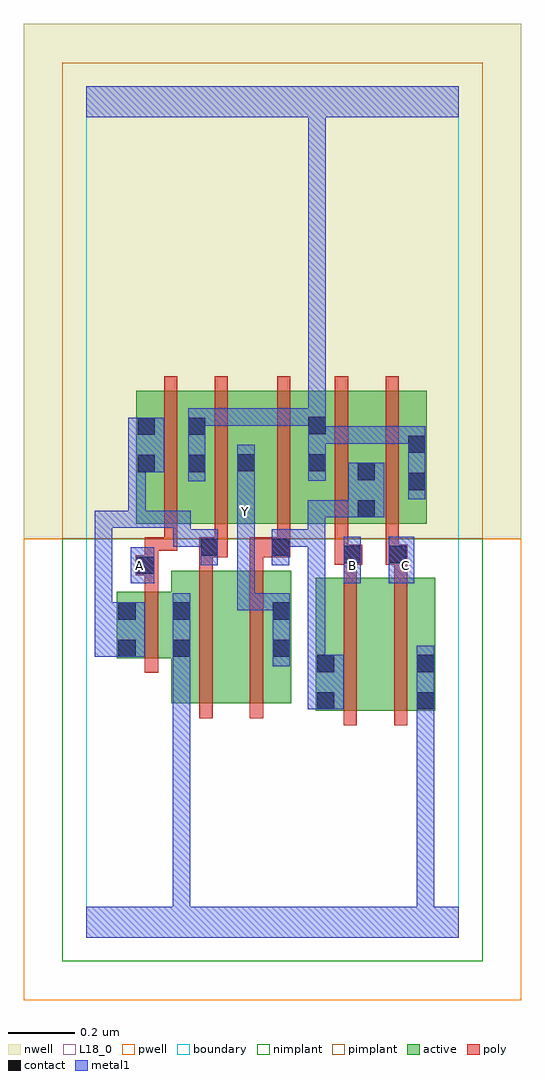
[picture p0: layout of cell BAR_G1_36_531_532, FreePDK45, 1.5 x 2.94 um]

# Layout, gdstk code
import gdstk
lib = gdstk.Library(unit=1e-6, precision=1e-09)
def R(c, l, rs):  # rectangles x0, y0, x1, y1
    for r in rs: c.add(gdstk.rectangle(r[:2], r[2:], *l))
active = (1, 0)
pwell = (2, 0)
nwell = (3, 0)
nimplant = (4, 0)
pimplant = (5, 0)
poly = (9, 0)
contact = (10, 0)
metal1 = (11, 0)
L18_0 = (18, 0)
boundary = (235, 0)

bar_g1_36_531_532 = lib.new_cell('BAR_G1_36_531_532')
R(bar_g1_36_531_532, active, [(0.69,0.682,0.75,1.082), (0.69,0.682,0.87,1.082), (0.87,0.682,1.05,1.082), (0.99,0.682,1.05,1.082), (0.256,0.704,0.436,1.104), (0.256,0.704,0.316,1.04), (0.436,0.704,0.616,1.104), (0.556,0.756,0.616,1.104), (0.092,0.84,0.316,1.04), (0.092,0.84,0.152,1.04), (0.15,1.244,0.21,1.644), (0.15,1.244,0.362,1.644), (0.302,1.244,0.362,1.644), (0.302,1.244,0.51,1.644), (0.45,1.244,0.51,1.644), (0.45,1.244,0.724,1.644), (0.664,1.244,0.724,1.644), (0.664,1.244,0.872,1.644), (0.812,1.244,0.872,1.644), (0.812,1.244,1.024,1.644), (0.964,1.244,1.024,1.644)])
R(bar_g1_36_531_532, pwell, [(-0.188,-0.188,1.308,1.2)])
R(bar_g1_36_531_532, nwell, [(-0.188,1.2,1.308,2.748)])
R(bar_g1_36_531_532, nimplant, [(-0.072,-0.072,1.192,1.2)])
R(bar_g1_36_531_532, pimplant, [(-0.072,1.2,1.192,2.632)])
R(bar_g1_36_531_532, poly, [(0.774,0.638,0.814,1.126), (0.926,0.638,0.966,1.126), (0.34,0.66,0.38,1.148), (0.492,0.66,0.532,1.148), (0.176,0.796,0.216,1.084), (0.176,1.044,0.216,1.13), (0.774,1.086,0.814,1.162), (0.926,1.086,0.966,1.162), (0.148,1.09,0.216,1.15), (0.34,1.108,0.38,1.184), (0.492,1.108,0.532,1.184), (0.176,1.11,0.216,1.204), (0.748,1.122,0.83,1.182), (0.774,1.122,0.814,1.162), (0.774,1.122,0.814,1.162), (0.9,1.122,0.966,1.182), (0.926,1.122,0.966,1.162), (0.926,1.122,0.966,1.162), (0.748,1.142,0.788,1.24), (0.9,1.142,0.94,1.24), (0.34,1.144,0.38,1.184), (0.34,1.144,0.38,1.184), (0.34,1.144,0.426,1.204), (0.492,1.144,0.614,1.204), (0.176,1.164,0.274,1.204), (0.234,1.164,0.274,1.24), (0.386,1.164,0.426,1.24), (0.574,1.164,0.614,1.204), (0.574,1.164,0.614,1.204), (0.574,1.164,0.614,1.24), (0.234,1.2,0.274,1.688), (0.386,1.2,0.426,1.688), (0.574,1.2,0.614,1.688), (0.748,1.2,0.788,1.688), (0.9,1.2,0.94,1.688)])
R(bar_g1_36_531_532, contact, [(0.694,0.686,0.746,0.738), (0.994,0.686,1.046,0.738), (0.694,0.798,0.746,0.85), (0.994,0.798,1.046,0.85), (0.096,0.844,0.148,0.896), (0.26,0.844,0.312,0.896), (0.56,0.844,0.612,0.896), (0.096,0.956,0.148,1.008), (0.26,0.956,0.312,1.008), (0.56,0.956,0.612,1.008), (0.152,1.094,0.204,1.146), (0.774,1.126,0.826,1.178), (0.91,1.126,0.962,1.178), (0.344,1.148,0.396,1.2), (0.558,1.148,0.61,1.2), (0.816,1.264,0.868,1.316), (0.968,1.346,1.02,1.398), (0.816,1.376,0.868,1.428), (0.154,1.4,0.206,1.452), (0.306,1.4,0.358,1.452), (0.454,1.402,0.506,1.454), (0.668,1.402,0.72,1.454), (0.968,1.458,1.02,1.51), (0.154,1.512,0.206,1.564), (0.306,1.512,0.358,1.564), (0.668,1.514,0.72,1.566)])
R(bar_g1_36_531_532, metal1, [(0,0,1.12,0.092), (0.26,0.04,0.312,0.092), (0.26,0.04,0.312,0.092), (0.26,0.04,0.312,0.092), (0.26,0.04,0.312,0.092), (0.26,0.04,0.312,0.092), (0.26,0.04,0.312,0.092), (0.26,0.04,0.312,0.092), (0.26,0.04,0.312,0.092), (0.26,0.04,0.312,0.092), (0.26,0.04,0.312,0.092), (0.26,0.04,0.312,0.092), (0.26,0.04,0.312,0.092), (0.26,0.04,0.312,0.868), (0.994,0.04,1.046,0.092), (0.994,0.04,1.046,0.092), (0.994,0.04,1.046,0.092), (0.994,0.04,1.046,0.092), (0.994,0.04,1.046,0.71), (0.994,0.658,1.046,0.71), (0.994,0.658,1.046,0.71), (0.994,0.658,1.046,0.71), (0.994,0.658,1.046,0.71), (0.994,0.658,1.046,0.71), (0.994,0.658,1.046,0.71), (0.994,0.658,1.046,0.71), (0.994,0.658,1.046,0.71), (0.994,0.658,1.046,0.878), (0.666,0.686,0.774,0.85), (0.666,0.798,0.718,1.228), (0.26,0.816,0.312,1.036), (0.56,0.816,0.612,1.036), (0.026,0.844,0.176,1.008), (0.026,0.956,0.078,1.008), (0.026,0.956,0.078,1.008), (0.026,0.956,0.078,1.284), (0.454,0.984,0.506,1.036), (0.454,0.984,0.506,1.036), (0.454,0.984,0.506,1.036), (0.454,0.984,0.612,1.036), (0.454,0.984,0.506,1.278), (0.134,1.066,0.204,1.174), (0.774,1.066,0.826,1.206), (0.91,1.066,0.986,1.206), (0.344,1.12,0.396,1.228), (0.558,1.12,0.61,1.228), (0.262,1.176,0.314,1.284), (0.262,1.176,0.396,1.228), (0.558,1.176,0.716,1.228), (0.664,1.176,0.716,1.228), (0.664,1.176,0.718,1.228), (0.666,1.176,0.718,1.228), (0.666,1.176,0.718,1.316), (0.454,1.226,0.506,1.334), (0.026,1.232,0.178,1.284), (0.126,1.232,0.178,1.284), (0.126,1.232,0.178,1.284), (0.126,1.232,0.178,1.452), (0.126,1.232,0.314,1.284), (0.666,1.264,0.718,1.316), (0.666,1.264,0.718,1.316), (0.666,1.264,0.718,1.316), (0.666,1.264,0.84,1.316), (0.788,1.264,0.84,1.316), (0.788,1.264,0.84,1.316), (0.788,1.264,0.896,1.428), (0.454,1.282,0.506,1.334), (0.454,1.282,0.506,1.334), (0.454,1.282,0.506,1.426), (0.968,1.318,1.02,1.538), (0.306,1.372,0.358,1.592), (0.454,1.374,0.506,1.482), (0.668,1.374,0.72,1.594), (0.126,1.4,0.234,1.564), (0.668,1.486,0.826,1.538), (0.774,1.486,0.826,1.538), (0.774,1.486,0.854,1.538), (0.802,1.486,0.854,1.538), (0.802,1.486,1.02,1.538), (0.968,1.486,1.02,1.538), (0.968,1.486,1.02,1.538), (0.306,1.54,0.358,1.592), (0.306,1.54,0.358,1.592), (0.306,1.54,0.502,1.592), (0.45,1.54,0.502,1.592), (0.45,1.54,0.506,1.592), (0.454,1.54,0.506,1.592), (0.454,1.54,0.716,1.592), (0.664,1.54,0.716,1.592), (0.664,1.54,0.72,1.592), (0.668,1.542,0.72,1.594), (0.668,1.542,0.72,1.594), (0.668,1.542,0.72,1.594), (0.668,1.542,0.72,1.594), (0.668,1.542,0.72,1.594), (0.668,1.542,0.72,1.594), (0.668,1.542,0.72,1.594), (0.668,1.542,0.72,1.594), (0.668,1.542,0.72,1.594), (0.668,1.542,0.72,1.594), (0.668,1.542,0.72,1.594), (0.668,1.542,0.72,1.594), (0.668,1.542,0.72,1.594), (0.668,1.542,0.72,1.594), (0.668,1.542,0.72,1.594), (0.668,1.542,0.72,1.594), (0.668,1.542,0.72,2.52), (0,2.468,1.12,2.56)])
R(bar_g1_36_531_532, L18_0, [(0,0,1.12,0.092), (0.26,0.04,0.312,0.092), (0.26,0.04,0.312,0.092), (0.26,0.04,0.312,0.092), (0.26,0.04,0.312,0.092), (0.26,0.04,0.312,0.092), (0.26,0.04,0.312,0.092), (0.26,0.04,0.312,0.092), (0.26,0.04,0.312,0.092), (0.26,0.04,0.312,0.092), (0.26,0.04,0.312,0.092), (0.26,0.04,0.312,0.092), (0.26,0.04,0.312,0.092), (0.26,0.04,0.312,0.868), (0.994,0.04,1.046,0.092), (0.994,0.04,1.046,0.092), (0.994,0.04,1.046,0.092), (0.994,0.04,1.046,0.092), (0.994,0.04,1.046,0.71), (0.994,0.658,1.046,0.71), (0.994,0.658,1.046,0.71), (0.994,0.658,1.046,0.71), (0.994,0.658,1.046,0.71), (0.994,0.658,1.046,0.71), (0.994,0.658,1.046,0.71), (0.994,0.658,1.046,0.71), (0.994,0.658,1.046,0.71), (0.994,0.658,1.046,0.878), (0.26,0.816,0.312,1.036), (0.56,0.816,0.612,1.036), (0.454,0.984,0.506,1.036), (0.454,0.984,0.506,1.036), (0.454,0.984,0.506,1.036), (0.454,0.984,0.506,1.278), (0.454,0.984,0.612,1.036), (0.134,1.066,0.204,1.174), (0.774,1.066,0.826,1.206), (0.91,1.066,0.986,1.206), (0.134,1.094,0.186,1.146), (0.774,1.094,0.826,1.146), (0.934,1.094,0.986,1.146), (0.454,1.226,0.506,1.334), (0.454,1.254,0.506,1.306), (0.454,1.282,0.506,1.334), (0.454,1.282,0.506,1.334), (0.454,1.282,0.506,1.426), (0.968,1.318,1.02,1.538), (0.306,1.372,0.358,1.592), (0.454,1.374,0.506,1.482), (0.668,1.374,0.72,1.594), (0.668,1.486,0.826,1.538), (0.774,1.486,0.826,1.538), (0.774,1.486,0.854,1.538), (0.802,1.486,0.854,1.538), (0.802,1.486,1.02,1.538), (0.968,1.486,1.02,1.538), (0.968,1.486,1.02,1.538), (0.306,1.54,0.358,1.592), (0.306,1.54,0.358,1.592), (0.306,1.54,0.502,1.592), (0.45,1.54,0.502,1.592), (0.45,1.54,0.506,1.592), (0.454,1.54,0.506,1.592), (0.454,1.54,0.716,1.592), (0.664,1.54,0.716,1.592), (0.664,1.54,0.72,1.592), (0.668,1.542,0.72,1.594), (0.668,1.542,0.72,1.594), (0.668,1.542,0.72,1.594), (0.668,1.542,0.72,1.594), (0.668,1.542,0.72,1.594), (0.668,1.542,0.72,1.594), (0.668,1.542,0.72,1.594), (0.668,1.542,0.72,1.594), (0.668,1.542,0.72,1.594), (0.668,1.542,0.72,1.594), (0.668,1.542,0.72,1.594), (0.668,1.542,0.72,1.594), (0.668,1.542,0.72,1.594), (0.668,1.542,0.72,1.594), (0.668,1.542,0.72,1.594), (0.668,1.542,0.72,1.594), (0.668,1.542,0.72,2.52), (0,2.468,1.12,2.56)])
R(bar_g1_36_531_532, boundary, [(0,0,1.12,2.56)])
bar_g1_36_531_532.add(gdstk.Label('A', (0.16,1.12), layer=11, texttype=0))
bar_g1_36_531_532.add(gdstk.Label('B', (0.8,1.12), layer=11, texttype=0))
bar_g1_36_531_532.add(gdstk.Label('C', (0.96,1.12), layer=11, texttype=0))
bar_g1_36_531_532.add(gdstk.Label('Y', (0.48,1.28), layer=11, texttype=0))

lib.write_gds('BAR_G1_36_531_532.gds')
